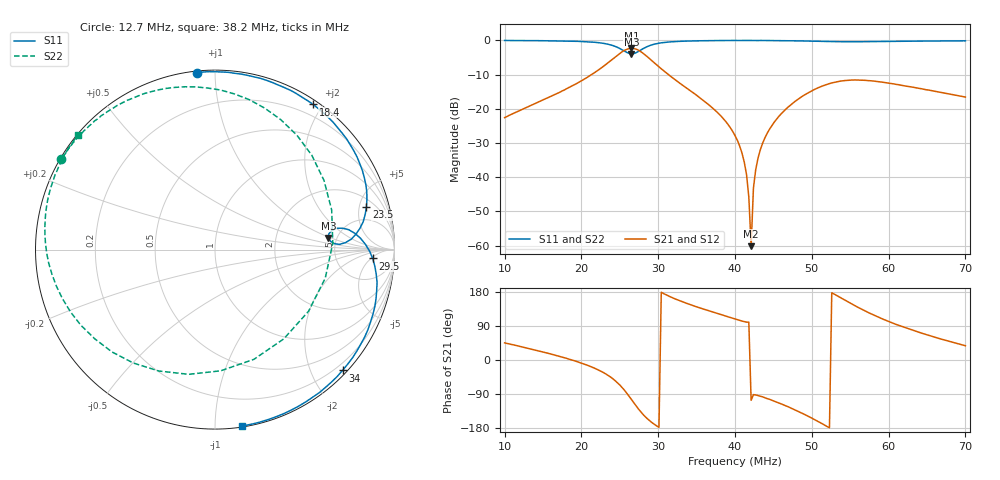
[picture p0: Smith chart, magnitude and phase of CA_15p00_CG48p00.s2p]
#  HZ  S  RI  R  50.00
! Rohde & Schwarz ZVT8 8Ports - Version 4.11 - 1300.0000k08 SN: 100242
! Date: 2026-07-31 14:15:41
! Measurements: S11 S21 S12 S22
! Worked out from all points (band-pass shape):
!   201 points, 10 MHz to 70 MHz, reference 50 ohm
!   highest |S21| = -2.31 dB at 26.5 MHz (marker M1); lowest = -60.1 dB at 42.1 MHz (marker M2)
!   |S21| within 3 dB of the highest: 24.15 MHz to 28.86 MHz (4.711 MHz wide, 17.8 % of centre)
!   lowest |S11| = -3.9 dB at 26.5 MHz (marker M3), VSWR 4.48, Z = 213 + j46.6 ohm
!   |S11| at or under -10 dB: nowhere
!   |S22| runs from -4.1 to 0.0 dB; largest |S21 - S12| = 0.0035
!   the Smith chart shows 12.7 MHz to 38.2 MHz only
!   S11 on the Smith chart (normalised r, x): 12.7 MHz: 0.01, +0.90; 18.4 MHz: 0.05, +1.88; 23.5 MHz: 2.89, +5.89; 29.5 MHz: 13, -6; 34 MHz: 0.08, -2.51; 38.2 MHz: 0.01, -1.17
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1e7  -0.409 0.9089  0.0523 0.0528  0.0523 0.0531  -0.9164 0.3923
1.27e7  -0.1027 0.9857  0.0871 0.0553  0.0868 0.0552  -0.8559 0.5053
1.84e7  0.5469 0.809  0.2053 0.00723  0.2046 0.00763  -0.6126 0.7596
2.02e7  0.7074 0.65  0.2606 -0.0441  0.2603 -0.044  -0.4624 0.8418
2.35e7  0.8437 0.2367  0.3576 -0.3114  0.3578 -0.3105  0.1066 0.8679
2.65e7  0.6319 0.0651  -0.1817 -0.7444  -0.1833 -0.7455  0.5215 -0.3432
2.77e7  0.7097 0.1194  -0.4947 -0.4783  -0.4971 -0.4807  -0.1468 -0.6949
2.95e7  0.8786 -0.0493  -0.4619 -0.0838  -0.4617 -0.0838  -0.8053 -0.3469
3.01e7  0.8984 -0.1379  -0.4107 -0.0162  -0.41 -0.0174  -0.8837 -0.2036
3.4e7  0.7105 -0.6732  -0.1597 0.1023  -0.1601 0.1025  -0.9075 0.3673
3.82e7  0.1526 -0.9828  -0.0387 0.0676  -0.0385 0.0676  -0.7628 0.6376
4e7  -0.148 -0.9842  -0.0128 0.0386  -0.0128 0.0386  -0.6969 0.7145
4.15e7  -0.404 -0.9112  -0.00189 0.0108  -0.00191 0.0108  -0.6393 0.7661
4.21e7  -0.5042 -0.8598  -0.000276 -0.000945  -0.000317 -0.000979  -0.617 0.7845
4.24e7  -0.5517 -0.8291  -0.00016 -0.00693  -0.000117 -0.00699  -0.6067 0.7937
4.36e7  -0.7333 -0.6728  -0.00399 -0.0313  -0.00397 -0.0311  -0.5599 0.8263
4.72e7  -0.9815 0.1083  -0.0663 -0.0912  -0.0663 -0.0912  -0.418 0.8988
5.02e7  -0.5075 0.8308  -0.1713 -0.078  -0.1715 -0.0779  -0.3027 0.9317
5.26e7  0.2939 0.9146  -0.2387 0.0105  -0.2384 0.0104  -0.2177 0.9437
5.53e7  0.921 0.2529  -0.2201 0.1444  -0.2198 0.1445  -0.131 0.9525
6.01e7  0.3797 -0.8874  -0.045 0.2321  -0.0444 0.2317  0.0249 0.9686
7e7  -0.9757 -0.1364  0.1177 0.0906  0.1178 0.0902  0.3859 0.9079
